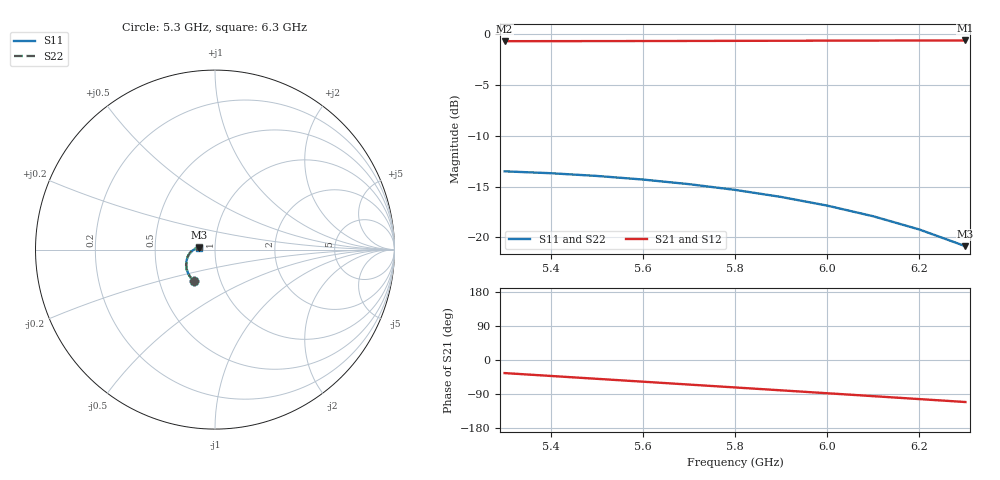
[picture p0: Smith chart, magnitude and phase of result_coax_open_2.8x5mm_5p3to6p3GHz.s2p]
! T04: W=2.8, L=5 mm L2 windows; original tapers; L3 intact
! 11 direct frequencies 5.3-6.3 GHz; 50-ohm coax reference; connectors included
# Hz S RI R 50
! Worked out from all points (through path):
!   11 points, 5.3 GHz to 6.3 GHz, reference 50 ohm
!   highest |S21| = -0.63 dB at 6.3 GHz (marker M1); lowest = -0.7 dB at 5.3 GHz (marker M2)
!   group delay of S21, straight-line fit = 212 ps
!   lowest |S11| = -20.9 dB at 6.3 GHz (marker M3), VSWR 1.20, Z = 41.7 + j0.911 ohm
!   |S11| at or under -10 dB: start of sweep to end of sweep
!   |S22| runs from -20.9 to -13.5 dB; largest |S21 - S12| = 1e-12
5.3e9  -0.118 -0.1753  0.7602 -0.5229  0.7602 -0.5229  -0.1179 -0.1752
5.4e9  -0.1355 -0.1563  0.685 -0.6184  0.685 -0.6184  -0.1356 -0.156
5.5e9  -0.1487 -0.1346  0.598 -0.7035  0.598 -0.7035  -0.1489 -0.1341
5.6e9  -0.1572 -0.1111  0.5004 -0.7768  0.5004 -0.7768  -0.1575 -0.1104
5.7e9  -0.1607 -0.0871  0.3938 -0.8368  0.3938 -0.8368  -0.1609 -0.0861
5.8e9  -0.1591 -0.0635  0.2798 -0.8825  0.2798 -0.8825  -0.1593 -0.0623
5.9e9  -0.1526 -0.0415  0.1602 -0.9129  0.1602 -0.9129  -0.1526 -0.0401
6e9  -0.1416 -0.0221  0.037 -0.9271  0.037 -0.9271  -0.1415 -0.0206
6.1e9  -0.1269 -0.00648  -0.0875 -0.9246  -0.0875 -0.9246  -0.1265 -0.00472
6.2e9  -0.1093 0.00471  -0.2112 -0.9052  -0.2112 -0.9052  -0.1086 0.00658
6.3e9  -0.0899 0.0108  -0.3316 -0.8689  -0.3316 -0.8689  -0.089 0.0127
